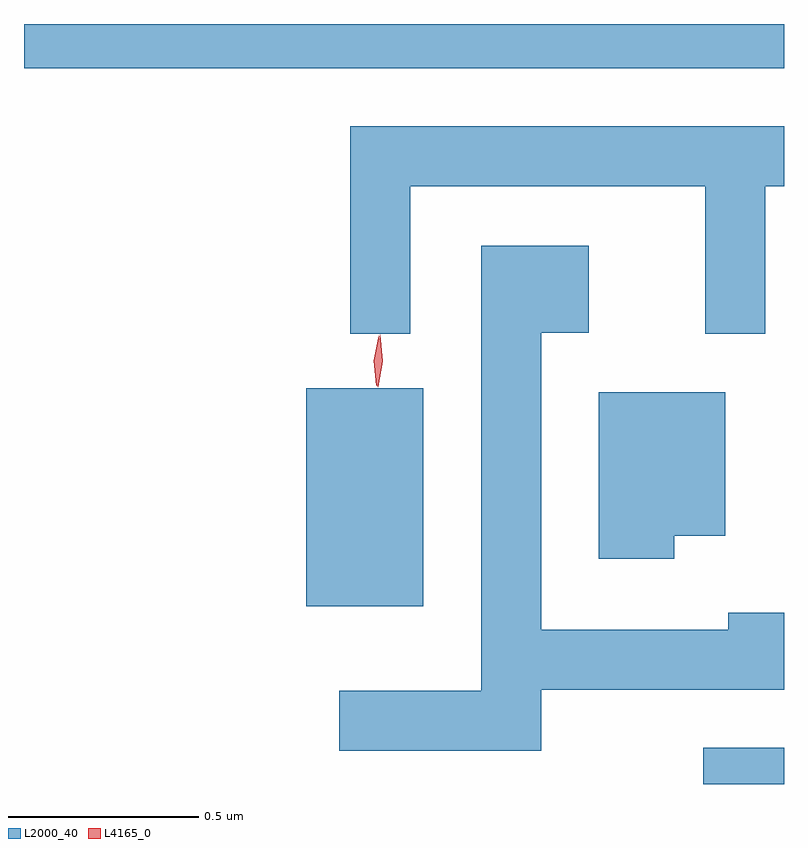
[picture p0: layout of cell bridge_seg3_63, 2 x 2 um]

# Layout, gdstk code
import gdstk
lib = gdstk.Library(unit=1e-6, precision=1e-09)
def R(c, l, rs):  # rectangles x0, y0, x1, y1
    for r in rs: c.add(gdstk.rectangle(r[:2], r[2:], *l))
def P(c, l, *ps):  # polygons
    for p in ps: c.add(gdstk.Polygon(p, *l))
L2000_40 = (2000, 40)
L4165_0 = (4165, 0)

bridge_seg3_63 = lib.new_cell('bridge_seg3_63')
R(bridge_seg3_63, L2000_40, [(1115.411,1219.593,1115.623,1219.689), (1114.366,1220.061,1114.674,1220.634), (1113.623,1221.476,1115.623,1221.593)])
P(bridge_seg3_63, L2000_40, [(1114.639,1221.166),(1115.416,1221.166),(1115.416,1220.778),(1115.574,1220.778),(1115.574,1221.166),(1115.623,1221.166),(1115.623,1221.324),(1114.481,1221.324),(1114.481,1220.778),(1114.639,1220.778)],
  [(1114.984,1219.841),(1115.623,1219.841),(1115.623,1220.044),(1115.476,1220.044),(1115.476,1219.999),(1114.984,1219.999),(1114.984,1220.781),(1115.109,1220.781),(1115.109,1221.009),(1114.826,1221.009),(1114.826,1219.839),(1114.453,1219.839),(1114.453,1219.681),(1114.984,1219.681)],
  [(1115.334,1220.246),(1115.469,1220.246),(1115.469,1220.624),(1115.136,1220.624),(1115.136,1220.186),(1115.334,1220.186)])
P(bridge_seg3_63, L4165_0, [(1114.554,1220.638),(1114.554,1220.639),(1114.547,1220.707),(1114.56,1220.775),(1114.56,1220.775),(1114.56,1220.775),(1114.567,1220.706),(1114.555,1220.639)],
  [(1114.551,1220.641),(1114.55,1220.642),(1114.544,1220.707),(1114.556,1220.772),(1114.556,1220.772),(1114.557,1220.772),(1114.563,1220.706),(1114.552,1220.642)])

lib.write_gds('bridge_seg3_63.gds')
